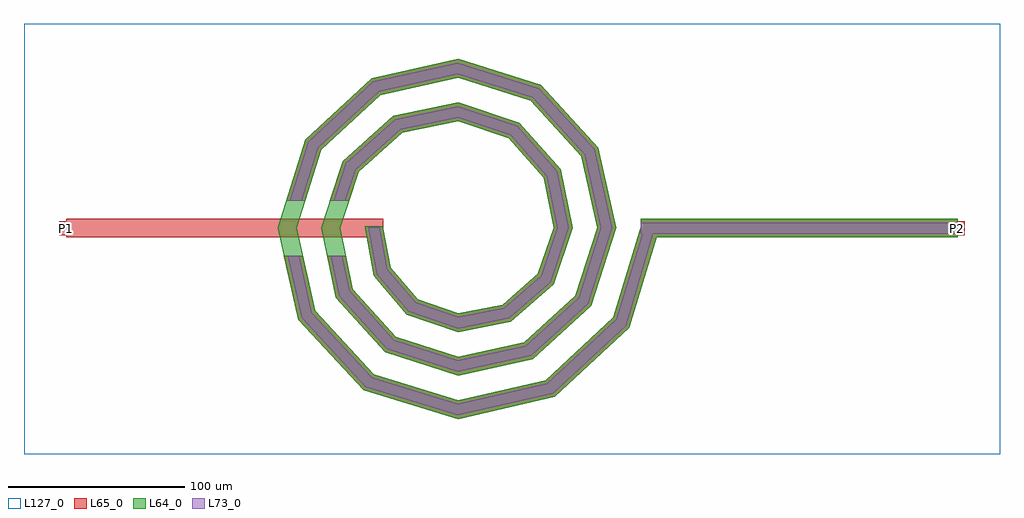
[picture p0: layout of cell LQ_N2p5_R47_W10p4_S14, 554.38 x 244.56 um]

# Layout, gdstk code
import gdstk
lib = gdstk.Library(unit=1e-6, precision=1e-09)
def R(c, l, rs):  # rectangles x0, y0, x1, y1
    for r in rs: c.add(gdstk.rectangle(r[:2], r[2:], *l))
def P(c, l, *ps):  # polygons
    for p in ps: c.add(gdstk.Polygon(p, *l))
L64_0 = (64, 0)
L65_0 = (65, 0)
L73_0 = (73, 0)
L127_0 = (127, 0)

lq_n2p5_r47_w10p4_s14 = lib.new_cell('LQ_N2p5_R47_W10p4_S14')
R(lq_n2p5_r47_w10p4_s14, L64_0, [(104.043,-5.2,284.043,5.2)])
P(lq_n2p5_r47_w10p4_s14, L64_0, [(-38.095,-22.474),(-22.796,-40.282),(0.384,-48.339),(25.518,-43.459),(45.603,-25.917),(54.507,0.345),(48.819,28.57),(29.031,50.927),(0.312,60.676),(-31.629,54.176),(-56.256,32.139),(-66.845,0.286),(-59.531,-34.691),(-35.245,-61.586),(0.263,-73.014),(37.758,-64.885),(66.919,-38.347),(79.184,0.244),(70.237,40.826),(41.447,72.253),(0.228,85.353),(-43.898,75.588),(-77.589,44.545),(-91.523,0.213),(-80.938,-46.97),(-47.641,-82.926),(0.2,-97.693),(50.045,-86.287),(88.263,-50.736),(104.271,1.523),(114.215,-1.523),(97.389,-56.45),(55.085,-95.803),(0.2,-108.453),(-53.375,-92.04),(-90.465,-51.989),(-102.283,0.213),(-86.689,50.301),(-48.892,85.128),(0.228,96.112),(47.229,81.337),(79.792,45.793),(89.941,0.244),(75.985,-44.159),(42.691,-74.457),(0.263,-83.77),(-41.091,-70.63),(-69.123,-39.587),(-77.599,0.286),(-65.274,38.026),(-36.48,63.791),(0.312,71.427),(34.964,59.915),(58.461,33.368),(65.255,0.345),(54.553,-31.908),(30.25,-53.134),(0.384,-59.083),(-28.858,-49.186),(-47.811,-27.124),(-52.654,0.946),(-42.428,0.946)])
R(lq_n2p5_r47_w10p4_s14, L65_0, [(-222.341,-5.2,-42.341,5.2), (104.043,-5.2,284.043,5.2), (-226.341,-4,-218.341,4), (280.043,-4,288.043,4)])
P(lq_n2p5_r47_w10p4_s14, L65_0, [(-80.938,-46.97),(-47.641,-82.926),(0.2,-97.693),(50.045,-86.287),(88.263,-50.736),(104.271,1.523),(114.215,-1.523),(97.389,-56.45),(55.085,-95.803),(0.2,-108.453),(-53.375,-92.04),(-90.465,-51.989),(-98.703,-15.6),(-88.04,-15.6)],
  [(-59.531,-34.691),(-35.245,-61.586),(0.263,-73.014),(37.758,-64.885),(66.919,-38.347),(79.184,0.244),(70.237,40.827),(41.447,72.253),(0.228,85.353),(-43.898,75.588),(-77.589,44.545),(-86.6,15.6),(-97.492,15.6),(-86.689,50.301),(-48.892,85.128),(0.228,96.112),(47.229,81.338),(79.792,45.793),(89.941,0.244),(75.985,-44.159),(42.691,-74.457),(0.263,-83.77),(-41.091,-70.63),(-69.123,-39.587),(-74.222,-15.6),(-63.59,-15.6)],
  [(-22.796,-40.283),(0.384,-48.34),(25.518,-43.459),(45.603,-25.917),(54.507,0.345),(48.819,28.57),(29.031,50.927),(0.312,60.676),(-31.629,54.176),(-56.256,32.14),(-61.657,15.6),(-72.598,15.6),(-65.274,38.026),(-36.48,63.791),(0.312,71.427),(34.964,59.915),(58.461,33.368),(65.255,0.345),(54.553,-31.908),(30.25,-53.134),(0.384,-59.083),(-28.858,-49.186),(-47.811,-27.124),(-52.654,0.946),(-42.428,0.946),(-38.095,-22.474)])
R(lq_n2p5_r47_w10p4_s14, L73_0, [(104.043,-3.2,284.043,3.2)])
P(lq_n2p5_r47_w10p4_s14, L73_0, [(-82.77,-47.936),(-48.744,-84.678),(0.123,-99.762),(51.014,-88.117),(90.018,-51.835),(106.183,0.937),(112.303,0.937),(95.634,-55.351),(54.116,-93.973),(0.123,-106.384),(-52.272,-90.287),(-88.633,-51.024),(-96.652,-15.6),(-90.09,-15.6)],
  [(-61.376,-35.633),(-36.369,-63.326),(0.162,-75.083),(38.706,-66.726),(68.663,-39.465),(81.252,0.15),(72.074,41.782),(42.559,74),(0.14,87.422),(-44.858,77.422),(-79.339,45.652),(-88.695,15.6),(-95.398,15.6),(-84.939,49.194),(-47.931,83.293),(0.14,94.043),(46.117,79.591),(77.954,44.838),(87.872,0.15),(74.241,-43.041),(41.743,-72.616),(0.162,-81.702),(-39.966,-68.891),(-67.278,-38.646),(-72.177,-15.6),(-65.634,-15.6)],
  [(-23.962,-41.995),(0.236,-50.406),(26.428,-45.319),(47.324,-27.069),(56.574,0.212),(50.673,29.493),(30.172,52.656),(0.192,62.744),(-32.562,56.025),(-57.99,33.272),(-63.761,15.6),(-70.494,15.6),(-63.54,36.894),(-35.547,61.942),(0.192,69.36),(33.823,58.187),(56.607,32.445),(63.189,0.212),(52.832,-30.756),(29.34,-51.274),(0.236,-57.017),(-27.693,-47.474),(-45.943,-26.23),(-50.688,0.582),(-44.394,0.582),(-39.963,-23.368)])
R(lq_n2p5_r47_w10p4_s14, L127_0, [(-246.341,-128.453,308.043,116.112)])
lq_n2p5_r47_w10p4_s14.add(gdstk.Label('P2', (284.043,0), layer=65, texttype=0))
lq_n2p5_r47_w10p4_s14.add(gdstk.Label('P1', (-222.341,0), layer=65, texttype=0))
lq_n2p5_r47_w10p4_s14.add(gdstk.Label('P2', (288.043,0), layer=145, texttype=0))
lq_n2p5_r47_w10p4_s14.add(gdstk.Label('P1', (-226.341,0), layer=145, texttype=0))

lib.write_gds('LQ_N2p5_R47_W10p4_S14.gds')
